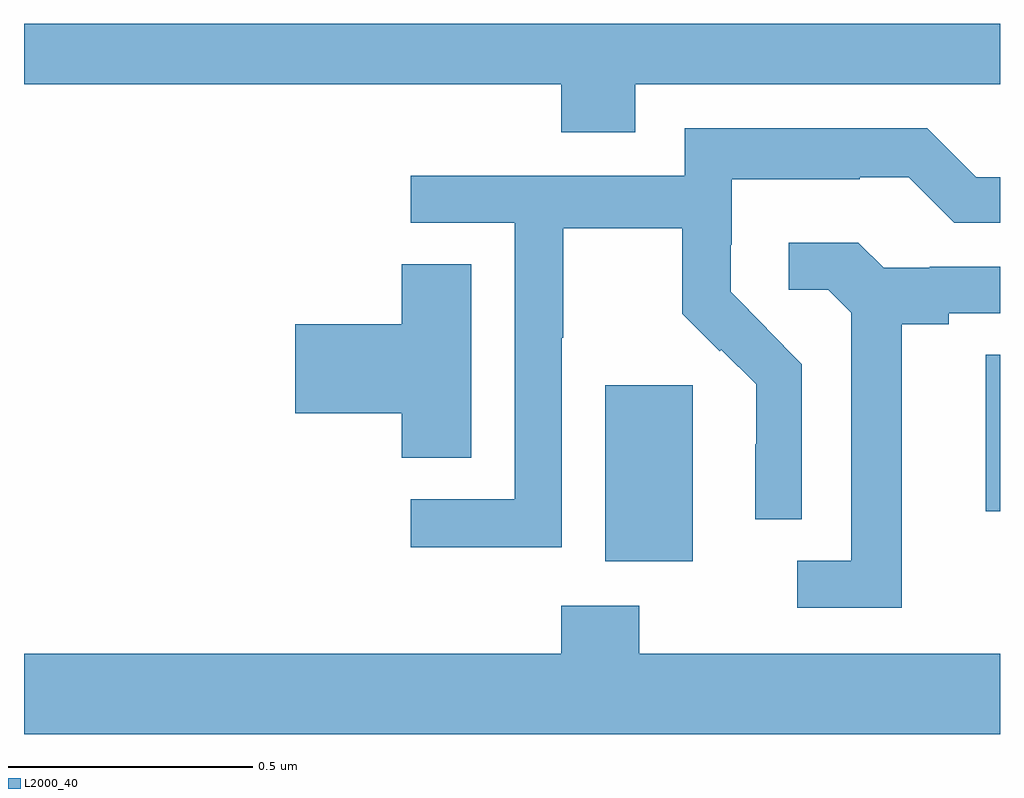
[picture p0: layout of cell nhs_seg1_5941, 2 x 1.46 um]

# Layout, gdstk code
import gdstk
lib = gdstk.Library(unit=1e-6, precision=1e-09)
def R(c, l, rs):  # rectangles x0, y0, x1, y1
    for r in rs: c.add(gdstk.rectangle(r[:2], r[2:], *l))
def P(c, l, *ps):  # polygons
    for p in ps: c.add(gdstk.Polygon(p, *l))
L2000_40 = (2000, 40)

nhs_seg1_5941 = lib.new_cell('nhs_seg1_5941')
R(nhs_seg1_5941, L2000_40, [(186.191,540.098,186.37,540.459), (186.971,540.201,187,540.521)])
P(nhs_seg1_5941, L2000_40, [(186.253,541.076),(187,541.076),(187,541.199),(185,541.199),(185,541.076),(186.101,541.076),(186.101,540.977),(186.253,540.977)],
  [(186.102,540.556),(186.105,540.556),(186.105,540.78),(186.349,540.78),(186.349,540.605),(186.426,540.528),(186.429,540.531),(186.5,540.461),(186.5,540.338),(186.498,540.338),(186.498,540.184),(186.594,540.184),(186.594,540.502),(186.521,540.575),(186.522,540.576),(186.448,540.65),(186.448,540.747),(186.45,540.747),(186.45,540.881),(186.713,540.881),(186.713,540.885),(186.813,540.885),(186.906,540.792),(187,540.792),(187,540.885),(186.951,540.885),(186.851,540.985),(186.354,540.985),(186.354,540.888),(185.793,540.888),(185.793,540.792),(186.006,540.792),(186.006,540.225),(185.793,540.225),(185.793,540.127),(186.102,540.127)],
  [(186.799,540.584),(186.895,540.584),(186.895,540.606),(187,540.606),(187,540.702),(186.856,540.702),(186.856,540.699),(186.762,540.699),(186.71,540.751),(186.567,540.751),(186.567,540.654),(186.648,540.654),(186.695,540.607),(186.695,540.099),(186.585,540.099),(186.585,540.003),(186.799,540.003)],
  [(185.917,540.707),(185.774,540.707),(185.774,540.584),(185.556,540.584),(185.556,540.401),(185.774,540.401),(185.774,540.31),(185.917,540.31)],
  [(187,539.908),(186.261,539.908),(186.261,540.007),(186.101,540.007),(186.101,539.908),(185,539.908),(185,539.744),(187,539.744)])

lib.write_gds('nhs_seg1_5941.gds')
